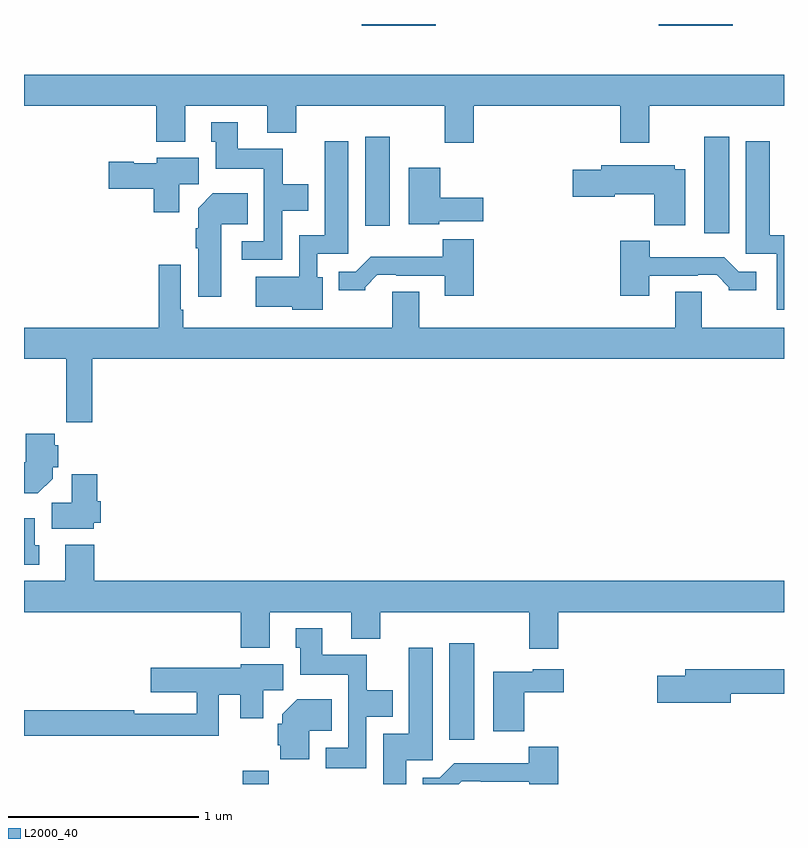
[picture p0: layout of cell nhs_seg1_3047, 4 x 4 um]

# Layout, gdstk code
import gdstk
lib = gdstk.Library(unit=1e-6, precision=1e-09)
def R(c, l, rs):  # rectangles x0, y0, x1, y1
    for r in rs: c.add(gdstk.rectangle(r[:2], r[2:], *l))
def P(c, l, *ps):  # polygons
    for p in ps: c.add(gdstk.Polygon(p, *l))
L2000_40 = (2000, 40)

nhs_seg1_3047 = lib.new_cell('nhs_seg1_3047')
R(nhs_seg1_3047, L2000_40, [(278.152,512.199,278.288,512.269), (279.239,512.433,279.37,512.941), (280.58,515.097,280.711,515.605), (278.795,515.136,278.926,515.605), (278.778,516.191,279.166,516.199), (280.34,516.191,280.729,516.199)])
P(nhs_seg1_3047, L2000_40, [(279.368,515.768),(280.139,515.768),(280.139,515.574),(280.291,515.574),(280.291,515.768),(281,515.768),(281,515.932),(277,515.932),(277,515.768),(277.697,515.768),(277.697,515.579),(277.849,515.579),(277.849,515.768),(278.279,515.768),(278.279,515.627),(278.432,515.627),(278.432,515.768),(279.215,515.768),(279.215,515.574),(279.368,515.574)],
  [(278.358,515.216),(278.497,515.216),(278.497,515.356),(278.361,515.356),(278.361,515.542),(278.125,515.542),(278.125,515.683),(277.985,515.683),(277.985,515.58),(278.009,515.58),(278.009,515.438),(278.262,515.438),(278.262,515.055),(278.145,515.055),(278.145,514.959),(278.358,514.959)],
  [(278.572,514.866),(278.544,514.866),(278.544,514.989),(278.707,514.989),(278.707,515.581),(278.582,515.581),(278.582,515.086),(278.448,515.086),(278.448,514.87),(278.22,514.87),(278.22,514.712),(278.412,514.712),(278.412,514.694),(278.572,514.694)],
  [(281,515.086),(280.924,515.086),(280.924,515.581),(280.799,515.581),(280.799,514.989),(280.962,514.989),(280.962,514.694),(281,514.694)],
  [(277.816,515.356),(277.921,515.356),(277.921,515.494),(277.698,515.494),(277.698,515.467),(277.578,515.467),(277.578,515.475),(277.446,515.475),(277.446,515.333),(277.682,515.333),(277.682,515.208),(277.816,515.208)],
  [(280.48,515.434),(280.425,515.434),(280.425,515.455),(280.037,515.455),(280.037,515.433),(279.888,515.433),(279.888,515.291),(280.11,515.291),(280.11,515.303),(280.318,515.303),(280.318,515.141),(280.48,515.141)],
  [(279.186,515.162),(279.418,515.162),(279.418,515.284),(279.19,515.284),(279.19,515.443),(279.026,515.443),(279.026,515.144),(279.186,515.144)],
  [(278.038,515.144),(278.177,515.144),(278.177,515.308),(277.994,515.308),(277.916,515.23),(277.916,515.123),(277.904,515.123),(277.904,515.02),(277.916,515.02),(277.916,514.764),(278.038,514.764)],
  [(279.368,515.065),(279.203,515.065),(279.203,514.975),(278.824,514.975),(278.745,514.896),(278.657,514.896),(278.657,514.799),(278.796,514.799),(278.796,514.814),(278.86,514.878),(278.959,514.878),(278.959,514.875),(279.215,514.875),(279.215,514.77),(279.368,514.77)],
  [(280.291,514.875),(280.547,514.875),(280.547,514.878),(280.646,514.878),(280.71,514.814),(280.71,514.799),(280.855,514.799),(280.855,514.896),(280.761,514.896),(280.685,514.972),(280.294,514.972),(280.294,515.059),(280.139,515.059),(280.139,514.77),(280.291,514.77)],
  [(277.358,514.436),(281,514.436),(281,514.6),(280.567,514.6),(280.567,514.79),(280.427,514.79),(280.427,514.6),(279.079,514.6),(279.079,514.79),(278.939,514.79),(278.939,514.6),(277.837,514.6),(277.837,514.696),(277.824,514.696),(277.824,514.933),(277.708,514.933),(277.708,514.6),(277,514.6),(277,514.436),(277.222,514.436),(277.222,514.104),(277.358,514.104)],
  [(277.15,513.806),(277.15,513.867),(277.179,513.867),(277.179,513.981),(277.163,513.981),(277.163,514.042),(277.01,514.042),(277.01,513.892),(277,513.892),(277,513.728),(277.072,513.728)],
  [(277.368,513.573),(277.403,513.573),(277.403,513.687),(277.385,513.687),(277.385,513.829),(277.251,513.829),(277.251,513.68),(277.145,513.68),(277.145,513.542),(277.368,513.542)],
  [(277.081,513.456),(277.057,513.456),(277.057,513.598),(277,513.598),(277,513.354),(277.081,513.354)],
  [(279.812,513.104),(281,513.104),(281,513.268),(277.37,513.268),(277.37,513.457),(277.217,513.457),(277.217,513.268),(277,513.268),(277,513.104),(278.141,513.104),(278.141,512.915),(278.293,512.915),(278.293,513.104),(278.723,513.104),(278.723,512.963),(278.876,512.963),(278.876,513.104),(279.659,513.104),(279.659,512.91),(279.812,512.91)],
  [(278.802,512.552),(278.941,512.552),(278.941,512.692),(278.805,512.692),(278.805,512.878),(278.569,512.878),(278.569,513.019),(278.429,513.019),(278.429,512.916),(278.453,512.916),(278.453,512.774),(278.706,512.774),(278.706,512.391),(278.589,512.391),(278.589,512.283),(278.802,512.283)],
  [(279.013,512.325),(279.151,512.325),(279.151,512.917),(279.026,512.917),(279.026,512.464),(278.891,512.464),(278.891,512.199),(279.013,512.199)],
  [(278.025,512.669),(278.138,512.669),(278.138,512.544),(278.259,512.544),(278.259,512.692),(278.365,512.692),(278.365,512.83),(278.142,512.83),(278.142,512.811),(277.668,512.811),(277.668,512.681),(277.909,512.681),(277.909,512.568),(277.58,512.568),(277.58,512.588),(277,512.588),(277,512.452),(278.025,512.452)],
  [(280.72,512.674),(281,512.674),(281,512.803),(280.481,512.803),(280.481,512.769),(280.332,512.769),(280.332,512.627),(280.72,512.627)],
  [(279.632,512.681),(279.841,512.681),(279.841,512.803),(279.678,512.803),(279.678,512.791),(279.47,512.791),(279.47,512.477),(279.632,512.477)],
  [(278.5,512.48),(278.621,512.48),(278.621,512.644),(278.438,512.644),(278.36,512.566),(278.36,512.517),(278.336,512.517),(278.336,512.403),(278.348,512.403),(278.348,512.33),(278.5,512.33)],
  [(279.304,512.214),(279.403,512.214),(279.403,512.211),(279.659,512.211),(279.659,512.199),(279.812,512.199),(279.812,512.395),(279.657,512.395),(279.657,512.308),(279.265,512.308),(279.189,512.232),(279.098,512.232),(279.098,512.199),(279.289,512.199)])

lib.write_gds('nhs_seg1_3047.gds')
